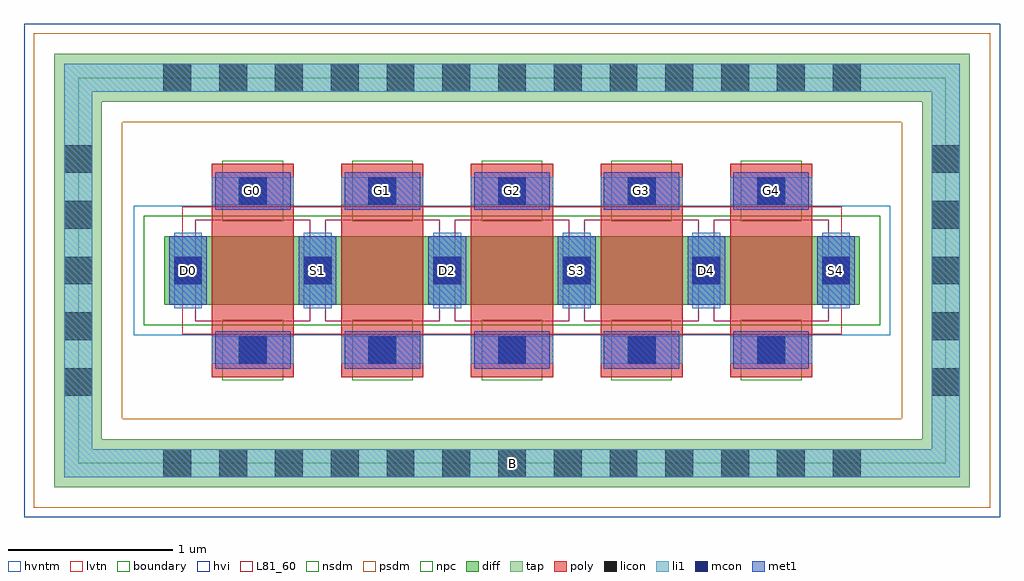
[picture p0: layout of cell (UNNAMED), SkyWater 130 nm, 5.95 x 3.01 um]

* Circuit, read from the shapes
.subckt (UNNAMED) B D0 D2 D4 G0 G1 G2 G3 G4 S1 S3 S4
XM1 S1 G0 D0 B sky130_fd_pr__nfet_05v0_nvt w=0.42 l=0.5
XM2 D2 G1 S1 B sky130_fd_pr__nfet_05v0_nvt w=0.42 l=0.5
XM3 S3 G2 D2 B sky130_fd_pr__nfet_05v0_nvt w=0.42 l=0.5
XM4 D4 G3 S3 B sky130_fd_pr__nfet_05v0_nvt w=0.42 l=0.5
XM5 S4 G4 D4 B sky130_fd_pr__nfet_05v0_nvt w=0.42 l=0.5
.ends

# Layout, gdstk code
import gdstk
lib = gdstk.Library(unit=1e-6, precision=1e-09)
def R(c, l, rs):  # rectangles x0, y0, x1, y1
    for r in rs: c.add(gdstk.rectangle(r[:2], r[2:], *l))
def A(c, l, x, y, w, h, nx, ny, dx, dy):  # array of equal rectangles
    R(c, l, [(x+i*dx, y+j*dy, x+i*dx+w, y+j*dy+h) for i in range(nx) for j in range(ny)])
diff = (65, 20)
tap = (65, 44)
poly = (66, 20)
licon = (66, 44)
li1 = (67, 20)
mcon = (67, 44)
met1 = (68, 20)
hvi = (75, 20)
L81_60 = (81, 60)
nsdm = (93, 44)
psdm = (94, 20)
npc = (95, 20)
hvntm = (125, 20)
lvtn = (125, 44)
boundary = (235, 4)

c__unnamed_ = lib.new_cell('(UNNAMED)')
R(c__unnamed_, diff, [(-2.12,-0.21,2.12,0.21)])
R(c__unnamed_, tap, [(-2.79,-1.32,2.79,-1.03), (-2.79,-1.03,-2.5,1.03), (2.5,-1.03,2.79,1.03), (-2.79,1.03,2.79,1.32)])
A(c__unnamed_, poly, -1.83, -0.65, 0.5, 1.3, 5, 1, 0.79, 0)
A(c__unnamed_, licon, -2.125, -1.26, 0.17, 0.17, 13, 2, 0.34, 2.35)
A(c__unnamed_, licon, -2.73, -0.765, 0.17, 0.17, 1, 5, 0, 0.34)
A(c__unnamed_, licon, 2.56, -0.765, 0.17, 0.17, 1, 5, 0, 0.34)
A(c__unnamed_, licon, -1.665, -0.57, 0.17, 0.17, 5, 2, 0.79, 0.97)
A(c__unnamed_, licon, -2.06, -0.085, 0.17, 0.17, 6, 1, 0.79, 0)
A(c__unnamed_, li1, -1.83, -0.57, 0.5, 0.17, 5, 2, 0.79, 0.97)
A(c__unnamed_, li1, -2.06, -0.23, 0.17, 0.46, 6, 1, 0.79, 0)
R(c__unnamed_, li1, [(-2.73,-1.26,2.73,-1.09), (-2.73,-1.09,-2.56,1.09), (2.56,-1.09,2.73,1.09), (-2.73,1.09,2.73,1.26)])
A(c__unnamed_, mcon, -1.665, -0.57, 0.17, 0.17, 5, 2, 0.79, 0.97)
A(c__unnamed_, mcon, -2.06, -0.085, 0.17, 0.17, 6, 1, 0.79, 0)
A(c__unnamed_, met1, -1.81, -0.6, 0.46, 0.23, 5, 2, 0.79, 0.97)
A(c__unnamed_, met1, -2.09, -0.21, 0.23, 0.42, 6, 1, 0.79, 0)
R(c__unnamed_, hvi, [(-2.975,-1.505,2.975,1.505)])
A(c__unnamed_, L81_60, -1.93, -0.31, 0.7, 0.62, 5, 1, 0.79, 0)
R(c__unnamed_, nsdm, [(-2.245,-0.335,2.245,0.335)])
R(c__unnamed_, psdm, [(-2.915,-1.445,2.915,-0.905), (-2.915,-0.905,-2.375,0.905), (2.375,-0.905,2.915,0.905), (-2.915,0.905,2.915,1.445)])
A(c__unnamed_, npc, -1.765, -0.67, 0.37, 0.37, 5, 2, 0.79, 0.97)
R(c__unnamed_, hvntm, [(-2.305,-0.395,2.305,0.395)])
R(c__unnamed_, lvtn, [(-2.01,-0.39,2.01,0.39)])
R(c__unnamed_, boundary, [(-2.645,-1.175,2.645,1.175)])
c__unnamed_.add(gdstk.Label('B', (0,-1.175), layer=67, texttype=5))
c__unnamed_.add(gdstk.Label('D0', (-1.975,0), layer=67, texttype=5))
c__unnamed_.add(gdstk.Label('G0', (-1.58,0.485), layer=67, texttype=5))
c__unnamed_.add(gdstk.Label('S1', (-1.185,0), layer=67, texttype=5))
c__unnamed_.add(gdstk.Label('G1', (-0.79,0.485), layer=67, texttype=5))
c__unnamed_.add(gdstk.Label('D2', (-0.395,0), layer=67, texttype=5))
c__unnamed_.add(gdstk.Label('G2', (0,0.485), layer=67, texttype=5))
c__unnamed_.add(gdstk.Label('S3', (0.395,0), layer=67, texttype=5))
c__unnamed_.add(gdstk.Label('G3', (0.79,0.485), layer=67, texttype=5))
c__unnamed_.add(gdstk.Label('D4', (1.185,0), layer=67, texttype=5))
c__unnamed_.add(gdstk.Label('S4', (1.975,0), layer=67, texttype=5))
c__unnamed_.add(gdstk.Label('G4', (1.58,0.485), layer=67, texttype=5))

lib.write_gds('_UNNAMED_.gds')
